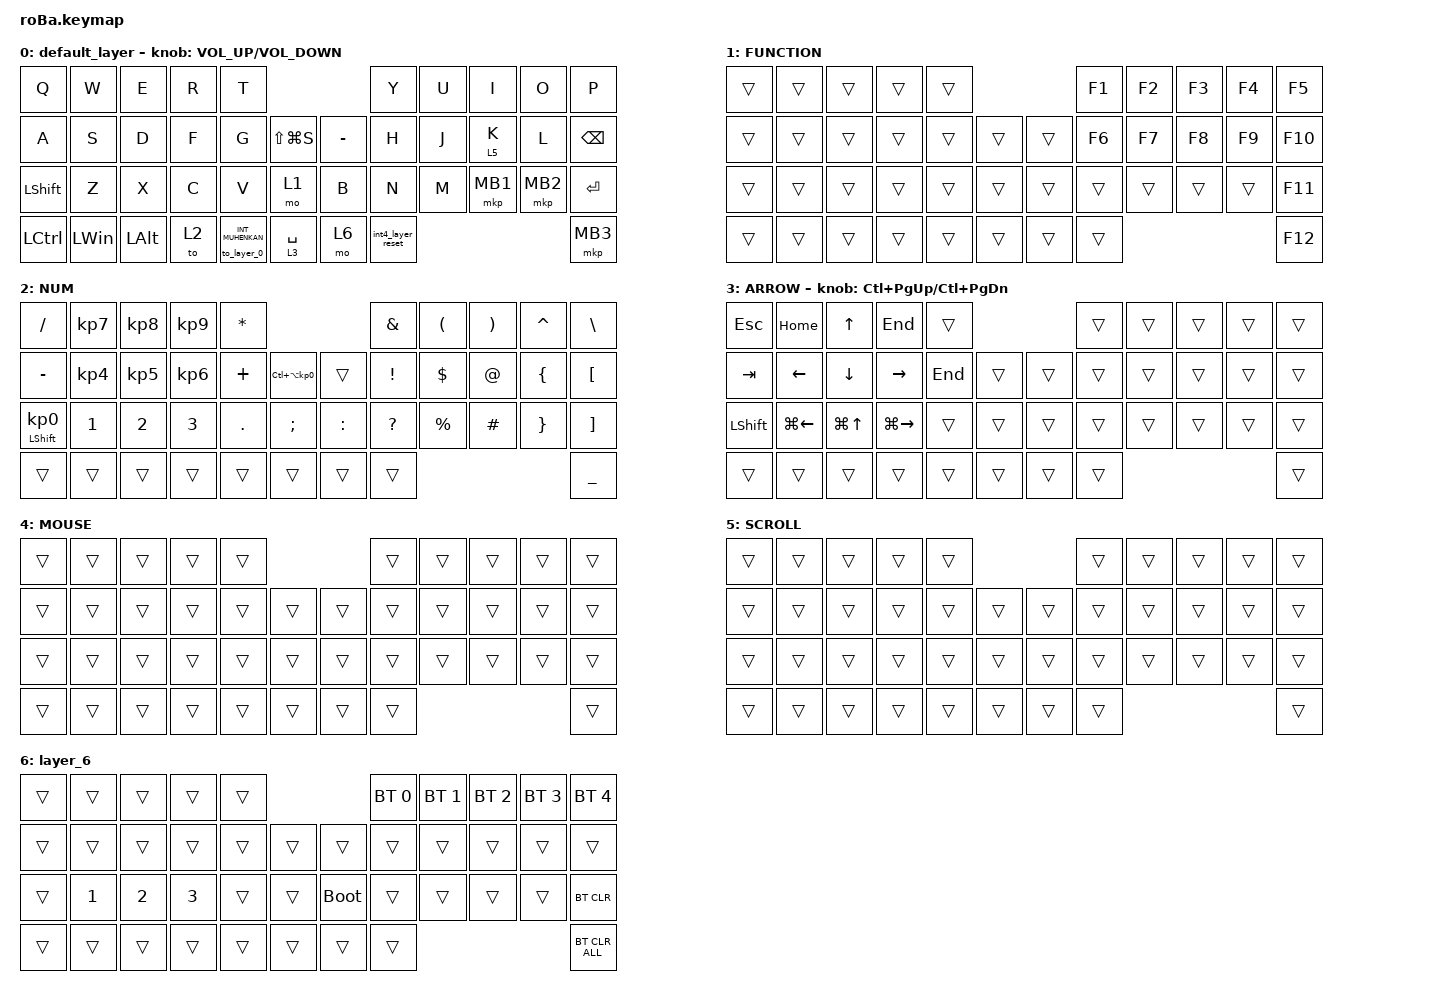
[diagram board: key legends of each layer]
#include <behaviors.dtsi>
#include <dt-bindings/zmk/bt.h>
#include <dt-bindings/zmk/keys.h>
#include <dt-bindings/zmk/mouse.h>

#define MOUSE 4
#define SCROLL 5
#define NUM 6

&mt {
    flavor = "balanced";
    quick-tap-ms = <0>;
};

/ {
    combos {
        compatible = "zmk,combos";

        tab {
            bindings = <&kp TAB>;
            key-positions = <11 12>;
        };

        shift_tab {
            bindings = <&kp LS(TAB)>;
            key-positions = <12 13>;
        };

        muhennkann {
            bindings = <&to_layer_0 INT_MUHENKAN>;
            key-positions = <11 10>;
        };

        double_quotation {
            bindings = <&kp DOUBLE_QUOTES>;
            key-positions = <20 21>;
        };

        eq {
            bindings = <&kp EQUAL>;
            key-positions = <24 25>;
        };
    };

    macros {
        to_layer_0: to_layer_0 {
            compatible = "zmk,behavior-macro-one-param";
            #binding-cells = <1>;
            bindings = <&to 0 &macro_param_1to1 &kp MACRO_PLACEHOLDER>;
            label = "TO_LAYER_0";
        };

        int4_layer_reset: new_macro {
            compatible = "zmk,behavior-macro";
            #binding-cells = <0>;
            bindings = <&to 0 &kp INT_HENKAN>;
            label = "NEW_MACRO";
        };

        int5_layer_reset: int5_layer_reset {
            compatible = "zmk,behavior-macro";
            #binding-cells = <0>;
            bindings = <&to 0 &kp INT_MUHENKAN>;
            label = "INT5_LAYER_RESET";
        };
    };

    behaviors {
        lt_to_layer_0: lt_to_layer_0 {
            compatible = "zmk,behavior-hold-tap";
            label = "LAYER_TAP_TO_0";
            bindings = <&mo>, <&to_layer_0>;

            #binding-cells = <2>;
            tapping-term-ms = <200>;
        };
    };

    keymap {
        compatible = "zmk,keymap";

        default_layer {
            bindings = <
&kp Q           &kp W         &kp E         &kp R  &kp T                                                          &kp Y              &kp U  &kp I     &kp O     &kp P
&kp A           &kp S         &kp D         &kp F  &kp G                     &kp LS(LG(S))             &kp MINUS  &kp H              &kp J  &lt 5 K   &kp L     &kp BACKSPACE
&kp LEFT_SHIFT  &kp Z         &kp X         &kp C  &kp V                     &mo 1                     &kp B      &kp N              &kp M  &mkp MB1  &mkp MB2  &kp ENTER
&kp LCTRL       &kp LEFT_WIN  &kp LEFT_ALT  &to 2  &to_layer_0 INT_MUHENKAN  &lt_to_layer_0 3 SPACE    &mo 6      &int4_layer_reset                             &mkp MB3
            >;

            sensor-bindings = <&inc_dec_kp C_VOLUME_UP C_VOLUME_DOWN>;
        };

        FUNCTION {
            bindings = <
&trans  &trans  &trans  &trans  &trans                    &kp F1  &kp F2  &kp F3  &kp F4  &kp F5
&trans  &trans  &trans  &trans  &trans  &trans    &trans  &kp F6  &kp F7  &kp F8  &kp F9  &kp F10
&trans  &trans  &trans  &trans  &trans  &trans    &trans  &trans  &trans  &trans  &trans  &kp F11
&trans  &trans  &trans  &trans  &trans  &trans    &trans  &trans                          &kp F12
            >;
        };

        NUM {
            bindings = <
&kp SLASH                   &kp KP_NUMBER_7  &kp KP_NUMBER_8  &kp KP_NUMBER_9  &kp ASTERISK                                        &kp AMPERSAND    &kp LEFT_PARENTHESIS  &kp RIGHT_PARENTHESIS  &kp CARET        &kp BACKSLASH
&kp MINUS                   &kp KP_NUMBER_4  &kp KP_NUMBER_5  &kp KP_NUMBER_6  &kp PLUS      &kp LC(LA(KP_NUMBER_0))    &trans     &kp EXCLAMATION  &kp DOLLAR            &kp AT                 &kp LEFT_BRACE   &kp LEFT_BRACKET
&mt LEFT_SHIFT KP_NUMBER_0  &kp NUMBER_1     &kp NUMBER_2     &kp NUMBER_3     &kp PERIOD    &kp SEMICOLON              &kp COLON  &kp QUESTION     &kp PERCENT           &kp HASH               &kp RIGHT_BRACE  &kp RIGHT_BRACKET
&trans                      &trans           &trans           &trans           &trans        &trans                     &trans     &trans                                                                         &kp UNDER
            >;
        };

        ARROW {
            bindings = <
&kp ESCAPE      &kp HOME            &kp UP_ARROW      &kp END              &trans                     &trans  &trans  &trans  &trans  &trans
&kp TAB         &kp LEFT_ARROW      &kp DOWN_ARROW    &kp RIGHT_ARROW      &kp END  &trans    &trans  &trans  &trans  &trans  &trans  &trans
&kp LEFT_SHIFT  &kp LG(LEFT_ARROW)  &kp LG(UP_ARROW)  &kp LG(RIGHT_ARROW)  &trans   &trans    &trans  &trans  &trans  &trans  &trans  &trans
&trans          &trans              &trans            &trans               &trans   &trans    &trans  &trans                          &trans
            >;

            sensor-bindings = <&inc_dec_kp LC(PAGE_UP) LC(PAGE_DOWN)>;
        };

        MOUSE {
            bindings = <
&trans  &trans  &trans  &trans  &trans                    &trans  &trans  &trans  &trans  &trans
&trans  &trans  &trans  &trans  &trans  &trans    &trans  &trans  &trans  &trans  &trans  &trans
&trans  &trans  &trans  &trans  &trans  &trans    &trans  &trans  &trans  &trans  &trans  &trans
&trans  &trans  &trans  &trans  &trans  &trans    &trans  &trans                          &trans
            >;
        };

        SCROLL {
            bindings = <
&trans  &trans  &trans  &trans  &trans                    &trans  &trans  &trans  &trans  &trans
&trans  &trans  &trans  &trans  &trans  &trans    &trans  &trans  &trans  &trans  &trans  &trans
&trans  &trans  &trans  &trans  &trans  &trans    &trans  &trans  &trans  &trans  &trans  &trans
&trans  &trans  &trans  &trans  &trans  &trans    &trans  &trans                          &trans
            >;
        };

        layer_6 {
            bindings = <
&trans  &trans        &trans        &trans        &trans                         &bt BT_SEL 0  &bt BT_SEL 1  &bt BT_SEL 2  &bt BT_SEL 3  &bt BT_SEL 4
&trans  &trans        &trans        &trans        &trans  &trans    &trans       &trans        &trans        &trans        &trans        &trans
&trans  &kp NUMBER_1  &kp NUMBER_2  &kp NUMBER_3  &trans  &trans    &bootloader  &trans        &trans        &trans        &trans        &bt BT_CLR
&trans  &trans        &trans        &trans        &trans  &trans    &trans       &trans                                                  &bt BT_CLR_ALL
            >;
        };
    };
};
